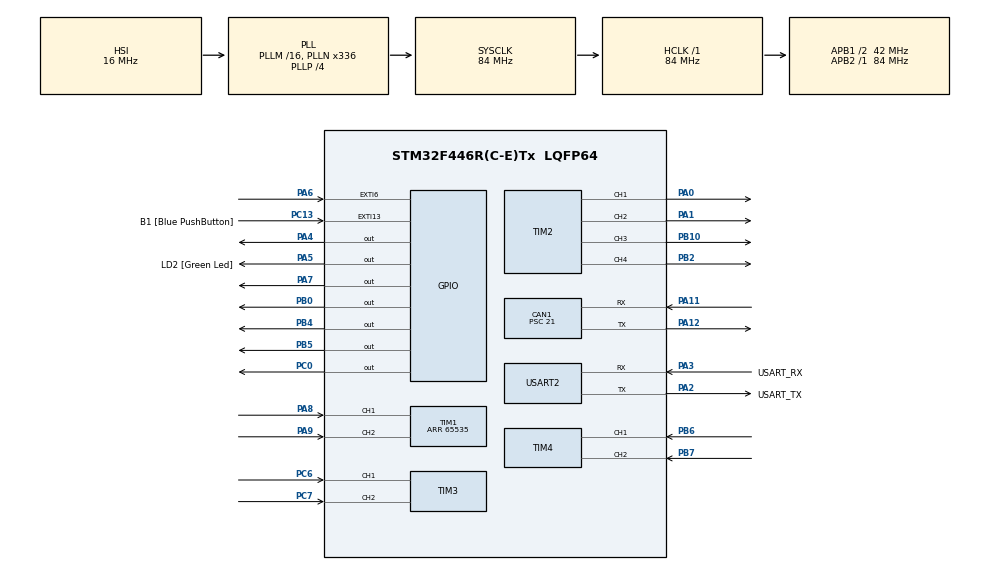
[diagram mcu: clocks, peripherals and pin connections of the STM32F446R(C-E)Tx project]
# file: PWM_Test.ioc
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CAN1.BS1=CAN_BS1_2TQ
CAN1.CalculateBaudRate=500000
CAN1.CalculateTimeBit=2000
CAN1.CalculateTimeQuantum=500.0
CAN1.Mode=CAN_MODE_NORMAL
CAN1.Prescaler=21
Mcu.Family=STM32F4
Mcu.Name=STM32F446R(C-E)Tx
Mcu.Package=LQFP64
NVIC.CAN1_RX0_IRQn=true\:0\:0\:false\:false\:true\:true\:true\:true
NVIC.CAN1_TX_IRQn=true\:0\:0\:false\:false\:true\:true\:true\:true
NVIC.PriorityGroup=NVIC_PRIORITYGROUP_0
PA0-WKUP.Signal=S_TIM2_CH1_ETR
PA1.Signal=S_TIM2_CH2
PA11.Mode=CAN_Activate
PA11.Signal=CAN1_RX
PA12.Mode=CAN_Activate
PA12.Signal=CAN1_TX
PA13.GPIO_Label=TMS
PA13.Mode=Serial_Wire
PA13.Signal=SYS_JTMS-SWDIO
PA14.GPIO_Label=TCK
PA14.Mode=Serial_Wire
PA14.Signal=SYS_JTCK-SWCLK
PA2.GPIO_Label=USART_TX
PA2.Mode=Asynchronous
PA2.Signal=USART2_TX
PA3.GPIO_Label=USART_RX
PA3.Mode=Asynchronous
PA3.Signal=USART2_RX
PA4.Signal=GPIO_Output
PA5.GPIO_Label=LD2 [Green Led]
PA5.Signal=GPIO_Output
PA6.Signal=GPXTI6
PA7.Signal=GPIO_Output
PA8.Signal=S_TIM1_CH1
PA9.Signal=S_TIM1_CH2
PB0.Signal=GPIO_Output
PB10.Signal=S_TIM2_CH3
PB2.Signal=S_TIM2_CH4
PB4.Signal=GPIO_Output
PB5.Signal=GPIO_Output
PB6.Signal=S_TIM4_CH1
PB7.Signal=S_TIM4_CH2
PC0.Signal=GPIO_Output
PC13.GPIO_Label=B1 [Blue PushButton]
PC13.GPIO_ModeDefaultEXTI=GPIO_MODE_IT_FALLING
PC13.Signal=GPXTI13
PC14-OSC32_IN.Mode=LSE-External-Oscillator
PC14-OSC32_IN.Signal=RCC_OSC32_IN
PC15-OSC32_OUT.Mode=LSE-External-Oscillator
PC15-OSC32_OUT.Signal=RCC_OSC32_OUT
PC6.Signal=S_TIM3_CH1
PC7.Signal=S_TIM3_CH2
PH0-OSC_IN.Mode=HSE-External-Oscillator
PH0-OSC_IN.Signal=RCC_OSC_IN
PH1-OSC_OUT.Mode=HSE-External-Oscillator
PH1-OSC_OUT.Signal=RCC_OSC_OUT
ProjectManager.HeapSize=0x200
ProjectManager.StackSize=0x400
ProjectManager.TargetToolchain=CMake
RCC.48MHZClocksFreq_Value=84000000
RCC.AHBFreq_Value=84000000
RCC.APB1CLKDivider=RCC_HCLK_DIV2
RCC.APB1Freq_Value=42000000
RCC.APB1TimFreq_Value=84000000
RCC.APB2Freq_Value=84000000
RCC.APB2TimFreq_Value=84000000
RCC.CortexFreq_Value=84000000
RCC.FLatency-AdvancedSettings=FLASH_LATENCY_2
RCC.HCLKFreq_Value=84000000
RCC.HSE_VALUE=8000000
RCC.HSI_VALUE=16000000
RCC.PLLN=336
RCC.PLLP=RCC_PLLP_DIV4
RCC.SYSCLKFreq_VALUE=84000000
RCC.SYSCLKSource=RCC_SYSCLKSOURCE_PLLCLK
RCC.USBFreq_Value=168000000
RCC.VCOOutputFreq_Value=336000000
SH.S_TIM1_CH1.0=TIM1_CH1,Encoder_Interface
SH.S_TIM1_CH2.0=TIM1_CH2,Encoder_Interface
SH.S_TIM2_CH1_ETR.0=TIM2_CH1,PWM Generation1 CH1
SH.S_TIM2_CH2.0=TIM2_CH2,PWM Generation2 CH2
SH.S_TIM2_CH3.0=TIM2_CH3,PWM Generation3 CH3
SH.S_TIM2_CH4.0=TIM2_CH4,PWM Generation4 CH4
SH.S_TIM3_CH1.0=TIM3_CH1,Encoder_Interface
SH.S_TIM3_CH2.0=TIM3_CH2,Encoder_Interface
SH.S_TIM4_CH1.0=TIM4_CH1,Encoder_Interface
SH.S_TIM4_CH2.0=TIM4_CH2,Encoder_Interface
TIM1.EncoderMode=TIM_ENCODERMODE_TI12
TIM1.IC1Filter=4
TIM1.IC2Filter=4
TIM1.Period=65535
TIM12.Prescaler=8399
TIM2.Channel-PWM\ Generation1\ CH1=TIM_CHANNEL_1
TIM2.Channel-PWM\ Generation2\ CH2=TIM_CHANNEL_2
TIM2.Channel-PWM\ Generation3\ CH3=TIM_CHANNEL_3
TIM2.Channel-PWM\ Generation4\ CH4=TIM_CHANNEL_4
TIM3.EncoderMode=TIM_ENCODERMODE_TI12
TIM3.IC1Filter=4
TIM3.IC2Filter=4
TIM4.EncoderMode=TIM_ENCODERMODE_TI12
TIM4.IC1Filter=4
TIM4.IC2Filter=4
USART2.VirtualMode=VM_ASYNC
VP_TIM12_VS_ClockSourceINT.Mode=Internal
VP_TIM2_VS_ClockSourceINT.Mode=Internal
board=NUCLEO-F446RE

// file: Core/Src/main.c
/* USER CODE BEGIN Header */
/**
  ******************************************************************************
  * @file           : main.c
  * @brief          : Main program body
  ******************************************************************************
  * @attention
  *
  * Copyright (c) 2025 STMicroelectronics.
  * All rights reserved.
  *
  * This software is licensed under terms that can be found in the LICENSE file
  * in the root directory of this software component.
  * If no LICENSE file comes with this software, it is provided AS-IS.
  *
  ******************************************************************************
  */
/* USER CODE END Header */
#include "main.h"

/* USER CODE BEGIN Includes */
#include <stdio.h>
#include <stdlib.h>
#include <stdbool.h>
#include <math.h>
#include "UMRT/CAN.h"
#include "UMRT/messages.h"
#include "UMRT/headlight_control.h"

#include "../../ECUAL/DC_MOTOR/DC_MOTOR.h"

#include "assert.h"
/* USER CODE END Includes */

/* USER CODE BEGIN PD */
#define DC_MOTOR1    0
#define DC_MOTOR2    1
#define DC_MOTOR3    2
#define DC_MOTOR4    3

#define PI_VALUE 3.14159265358979323846
#define MESSAGES_LEGACY_JETSON_MOTOR_CONTROL_STD_ID (0x110u)
#define MESSAGES_LEGACY_JETSON_MOTOR_CONTROL_EXT_ID (0xFF10u)
typedef struct {
	float motor1;
	float motor2;
	float motor3;
	float motor4;
} MotorMessage;

int16_t PWM_RES[] = {0, 0, 0, 0};
float motor_speed[] = {0, 0, 0, 0};

float MAX_RPM = 1.0f/155.0f;
float WHEEL_DIA = 1.0f/(PI_VALUE * 200.0f);
float SPEED_SCALE = 0.085f;

volatile float   rpm[4]        = {0.0f, 0.0f, 0.0f, 0.0f};
volatile int32_t prev_count[4] = {0, 0, 0, 0};
volatile float wheel_rpm[4] = {0.0f, 0.0f, 0.0f, 0.0f};  /* post-gear-ratio RPM, one per encoder_timers[] entry */
volatile int32_t last_delta[4] = {0, 0, 0, 0};  /* counts moved last sample    */

#define FEEDBACK_TX_PERIOD_MS 100u   /* 10 Hz — tune this alone, independent of RPM sampling */
static uint32_t last_feedback_tx_ms = 0;

void PID_UpdateTargetSpeed(MotorMessage targetSpeed) {
	motor_speed[0] = targetSpeed.motor1 * MAX_RPM * 4096.0f;
	motor_speed[1] = targetSpeed.motor2 * MAX_RPM * 4096.0f;
	motor_speed[2] = targetSpeed.motor3 * MAX_RPM * 4096.0f;
	motor_speed[3] = targetSpeed.motor4 * MAX_RPM * 4096.0f;

        for (int i = 0; i < 4; i++) {
            if (motor_speed[i] > 32767.0f) {
                motor_speed[i] = 32767.0f;
            } else if (motor_speed[i] < -32767.0f) {
                motor_speed[i] = -32767.0f;
            }

            PWM_RES[i] = (int16_t)motor_speed[i];
        }

        printf("MAX_RPM   = %.15f\r\n", MAX_RPM);
        printf("4096 term = %.15f\r\n", 4096.0f);
        printf("rpm       = %.15f\r\n", targetSpeed.motor1);

        printf("rpm*MAX   = %.15f\r\n",
               targetSpeed.motor1 * MAX_RPM);

        printf("rpm*MAX*4096 = %.15f\r\n",
               targetSpeed.motor1 * MAX_RPM * 4096.0f);
}

void CAN_MsgReceived(CAN_HandleTypeDef *hcan, CAN_RxHeaderTypeDef *rxheader, uint8_t *rxdata)
{
    uint32_t id = (rxheader->IDE == CAN_ID_STD) ? rxheader->StdId : rxheader->ExtId;
    switch (id)
    {
    case MESSAGES_LEGACY_JETSON_MOTOR_CONTROL_EXT_ID:
    case MESSAGES_LEGACY_JETSON_MOTOR_CONTROL_STD_ID:
        if (rxheader->DLC != 8) return;

        MotorMessage targetSpeed;
        const int16_t m1 = (int16_t)((uint16_t)rxdata[1] << 8 | rxdata[0]);
        const int16_t m2 = (int16_t)((uint16_t)rxdata[3] << 8 | rxdata[2]);
        const int16_t m3 = (int16_t)((uint16_t)rxdata[5] << 8 | rxdata[4]);
        const int16_t m4 = (int16_t)((uint16_t)rxdata[7] << 8 | rxdata[6]);

        if (
          (m1 > 0 && m3 < 0) ||
          (m1 < 0 && m3 > 0)
        ) {
            break;
        }

        if (
          (m2 > 0 && m4 < 0) ||
          (m2 < 0 && m4 > 0)
        ) {
              break;
        }

        targetSpeed.motor1 = (float)m1;
        targetSpeed.motor2 = (float)m2;
        targetSpeed.motor3 = (float)m3;
        targetSpeed.motor4 = (float)m4;

        PID_UpdateTargetSpeed(targetSpeed);
        break;

    case MESSAGES_ROVER_SPEED_CONTROL_FRAME_ID:
        {
            struct messages_rover_speed_control_t cmd;
            if (messages_rover_speed_control_unpack(&cmd, rxdata, rxheader->DLC) != 0) {
                printf("Rover_Speed_Control: unpack failed (DLC=%u)\r\n", rxheader->DLC);
                return;
            }

            float left_rpm  = messages_rover_speed_control_left_angular_velocity_decode(cmd.left_angular_velocity);
            float right_rpm = messages_rover_speed_control_right_angular_velocity_decode(cmd.right_angular_velocity);

            printf("left rpm: %.2f, right rpm: %.2f\r\n", left_rpm, right_rpm);

            MotorMessage targetSpeed;
            targetSpeed.motor1 = left_rpm;   // left, front
            targetSpeed.motor3 = left_rpm;   // left, rear
            targetSpeed.motor2 = right_rpm;  // right, front
            targetSpeed.motor4 = right_rpm;  // right, rear

            PID_UpdateTargetSpeed(targetSpeed);
            break;
        }

    //Headlights
    case MESSAGES_FRONT_HEADLIGHT_COMMAND_FRAME_ID:
    {
         printf("Headlight msg\r\n");
    	 Headlight_HandleCanFrame(rxheader, rxdata);

    	 break;
    }

    }
}
/* USER CODE END PD */

CAN_HandleTypeDef hcan1;

TIM_HandleTypeDef htim1;
TIM_HandleTypeDef htim2;
TIM_HandleTypeDef htim3;
TIM_HandleTypeDef htim4;
TIM_HandleTypeDef htim12;

UART_HandleTypeDef huart2;

void SystemClock_Config(void);
static void MX_GPIO_Init(void);
static void MX_USART2_UART_Init(void);
static void MX_TIM3_Init(void);
static void MX_CAN1_Init(void);
static void MX_TIM2_Init(void);
static void MX_TIM1_Init(void);
static void MX_TIM12_Init(void);
static void MX_TIM4_Init(void);
/* USER CODE BEGIN PFP */

uint8_t crc8_j1850(const uint8_t *data, size_t len);
static HAL_StatusTypeDef Send_Rover_Speed_Feedback(float rpm_front_left, float rpm_front_right,
                                                     float rpm_rear_left, float rpm_rear_right);
extern UART_HandleTypeDef huart2;

#ifdef RE_SIMULATION
  int _write(int file, char *ptr, int len)
  {
    HAL_UART_Transmit(&huart2, (uint8_t*)ptr, len, HAL_MAX_DELAY);
    return len;
  }
#endif

/* USER CODE END PFP */

/* USER CODE BEGIN 0 */
int __io_putchar(int ch) {
  HAL_StatusTypeDef result = HAL_UART_Transmit(&huart2, (uint8_t *)&ch, 1, 10);
  if (result != HAL_OK) {
	  // Backup to indicate printing isn't working.
	  HAL_GPIO_TogglePin(GPIOA, GPIO_PIN_5);
  }
  return ch;
}

static void Drive_Motor(uint8_t motor_id, int16_t pwm_value, bool left_motor) {
  if (left_motor) {
    DC_MOTOR_Set_Dir(motor_id, (pwm_value < 0) ? DIR_CCW: DIR_CW);
  } else {
    DC_MOTOR_Set_Dir(motor_id, (pwm_value < 0) ? DIR_CW: DIR_CCW);
  }
  const float absPWM = fabsf(pwm_value);
    if (absPWM < 0.05*4095) {
          DC_MOTOR_Stop(motor_id);
        }
        else{
          uint16_t speedVal =  (uint16_t)absPWM;
          if (speedVal > 32767) speedVal = 32767;
          DC_MOTOR_Set_Speed(motor_id, speedVal);
        }
}
/* USER CODE END 0 */

int main(void)
{

  /* MCU Configuration--------------------------------------------------------*/

  /* Reset of all peripherals, Initializes the Flash interface and the Systick. */
  HAL_Init();

  /* Configure the system clock */
  SystemClock_Config();

  /* Initialize all configured peripherals */
  MX_GPIO_Init();
  MX_USART2_UART_Init();
  MX_TIM3_Init();
  MX_CAN1_Init();
  MX_TIM2_Init();
  MX_TIM1_Init();
  MX_TIM12_Init();
  MX_TIM4_Init();
  /* USER CODE BEGIN 2 */
  CAN_Setup(&hcan1);
  Headlight_Init();

  printf("starting...");
  HAL_StatusTypeDef status = HAL_CAN_Start(&hcan1);
  if (status == HAL_OK) printf("success!\r\n");
  	  else
  	  {
  		  printf("failed! :( status == %u\r\n", status);
		  if (status == HAL_ERROR) HAL_CAN_ErrorCallback(&hcan1);
  	  }

  //HAL_ADCEx_Calibration_Start(&hadc1);
  DC_MOTOR_Init(DC_MOTOR1);
  DC_MOTOR_Init(DC_MOTOR2);
  DC_MOTOR_Init(DC_MOTOR3);
  DC_MOTOR_Init(DC_MOTOR4);
  DC_MOTOR_Start(DC_MOTOR1, DIR_CW, 0);
  DC_MOTOR_Start(DC_MOTOR2, DIR_CW, 0);
  DC_MOTOR_Start(DC_MOTOR3, DIR_CW, 0);
  DC_MOTOR_Start(DC_MOTOR4, DIR_CW, 0);

  HAL_TIM_Encoder_Start(&htim1, TIM_CHANNEL_ALL);
  HAL_TIM_Encoder_Start(&htim3, TIM_CHANNEL_ALL);
  HAL_TIM_Encoder_Start(&htim4, TIM_CHANNEL_ALL);
  //HAL_TIM_Encoder_Start(&htim5, TIM_CHANNEL_ALL);

  HAL_TIM_Base_Start(&htim12);
  printf("System Ready\r\n");

  /* USER CODE END 2 */

  /* Infinite loop */
  while (1)
  {

    /* USER CODE BEGIN 3 */
  Drive_Motor(DC_MOTOR1, PWM_RES[0], true); //left front
  Drive_Motor(DC_MOTOR2, PWM_RES[1], false); //right front
  Drive_Motor(DC_MOTOR3, PWM_RES[2], true);  //left rear
  Drive_Motor(DC_MOTOR4, PWM_RES[3], false); //right rear
  }
  /* USER CODE END 3 */
}

void SystemClock_Config(void)
{
  RCC_OscInitTypeDef RCC_OscInitStruct = {0};
  RCC_ClkInitTypeDef RCC_ClkInitStruct = {0};

  /** Configure the main internal regulator output voltage
  */
  __HAL_RCC_PWR_CLK_ENABLE();
  __HAL_PWR_VOLTAGESCALING_CONFIG(PWR_REGULATOR_VOLTAGE_SCALE3);

  /** Initializes the RCC Oscillators according to the specified parameters
  * in the RCC_OscInitTypeDef structure.
  */
  RCC_OscInitStruct.OscillatorType = RCC_OSCILLATORTYPE_HSI;
  RCC_OscInitStruct.HSIState = RCC_HSI_ON;
  RCC_OscInitStruct.HSICalibrationValue = RCC_HSICALIBRATION_DEFAULT;
  RCC_OscInitStruct.PLL.PLLState = RCC_PLL_ON;
  RCC_OscInitStruct.PLL.PLLSource = RCC_PLLSOURCE_HSI;
  RCC_OscInitStruct.PLL.PLLM = 16;
  RCC_OscInitStruct.PLL.PLLN = 336;
  RCC_OscInitStruct.PLL.PLLP = RCC_PLLP_DIV4;
  RCC_OscInitStruct.PLL.PLLQ = 2;
  RCC_OscInitStruct.PLL.PLLR = 2;
  if (HAL_RCC_OscConfig(&RCC_OscInitStruct) != HAL_OK)
  {
    Error_Handler();
  }

  /** Initializes the CPU, AHB and APB buses clocks**/
  RCC_ClkInitStruct.ClockType = RCC_CLOCKTYPE_HCLK|RCC_CLOCKTYPE_SYSCLK
                              |RCC_CLOCKTYPE_PCLK1|RCC_CLOCKTYPE_PCLK2;
  RCC_ClkInitStruct.SYSCLKSource = RCC_SYSCLKSOURCE_PLLCLK;
  RCC_ClkInitStruct.AHBCLKDivider = RCC_SYSCLK_DIV1;
  RCC_ClkInitStruct.APB1CLKDivider = RCC_HCLK_DIV2;
  RCC_ClkInitStruct.APB2CLKDivider = RCC_HCLK_DIV1;

  if (HAL_RCC_ClockConfig(&RCC_ClkInitStruct, FLASH_LATENCY_2) != HAL_OK)
  {
    Error_Handler();
  }
}

static void MX_CAN1_Init(void)
{

  hcan1.Instance = CAN1;
  hcan1.Init.Prescaler = 21;
  hcan1.Init.Mode = CAN_MODE_NORMAL;
  hcan1.Init.SyncJumpWidth = CAN_SJW_1TQ;
  hcan1.Init.TimeSeg1 = CAN_BS1_2TQ;
  hcan1.Init.TimeSeg2 = CAN_BS2_1TQ;
  hcan1.Init.TimeTriggeredMode = DISABLE;
  hcan1.Init.AutoBusOff = DISABLE;
  hcan1.Init.AutoWakeUp = DISABLE;
  hcan1.Init.AutoRetransmission = DISABLE;
  hcan1.Init.ReceiveFifoLocked = DISABLE;
  hcan1.Init.TransmitFifoPriority = DISABLE;
  if (HAL_CAN_Init(&hcan1) != HAL_OK)
  {
    Error_Handler();
  }

}

static void MX_TIM1_Init(void)
{

  TIM_Encoder_InitTypeDef sConfig = {0};
  TIM_MasterConfigTypeDef sMasterConfig = {0};

  htim1.Instance = TIM1;
  htim1.Init.Prescaler = 0;
  htim1.Init.CounterMode = TIM_COUNTERMODE_UP;
  htim1.Init.Period = 65535;
  htim1.Init.ClockDivision = TIM_CLOCKDIVISION_DIV1;
  htim1.Init.RepetitionCounter = 0;
  htim1.Init.AutoReloadPreload = TIM_AUTORELOAD_PRELOAD_DISABLE;
  sConfig.EncoderMode = TIM_ENCODERMODE_TI12;
  sConfig.IC1Polarity = TIM_ICPOLARITY_RISING;
  sConfig.IC1Selection = TIM_ICSELECTION_DIRECTTI;
  sConfig.IC1Prescaler = TIM_ICPSC_DIV1;
  sConfig.IC1Filter = 4;
  sConfig.IC2Polarity = TIM_ICPOLARITY_RISING;
  sConfig.IC2Selection = TIM_ICSELECTION_DIRECTTI;
  sConfig.IC2Prescaler = TIM_ICPSC_DIV1;
  sConfig.IC2Filter = 4;
  if (HAL_TIM_Encoder_Init(&htim1, &sConfig) != HAL_OK)
  {
    Error_Handler();
  }
  sMasterConfig.MasterOutputTrigger = TIM_TRGO_RESET;
  sMasterConfig.MasterSlaveMode = TIM_MASTERSLAVEMODE_DISABLE;
  if (HAL_TIMEx_MasterConfigSynchronization(&htim1, &sMasterConfig) != HAL_OK)
  {
    Error_Handler();
  }

}

static void MX_TIM2_Init(void)
{

  TIM_ClockConfigTypeDef sClockSourceConfig = {0};
  TIM_MasterConfigTypeDef sMasterConfig = {0};
  TIM_OC_InitTypeDef sConfigOC = {0};

  htim2.Instance = TIM2;
  htim2.Init.Prescaler = 0;
  htim2.Init.CounterMode = TIM_COUNTERMODE_UP;
  htim2.Init.Period = 4294967295;
  htim2.Init.ClockDivision = TIM_CLOCKDIVISION_DIV1;
  htim2.Init.AutoReloadPreload = TIM_AUTORELOAD_PRELOAD_DISABLE;
  if (HAL_TIM_Base_Init(&htim2) != HAL_OK)
  {
    Error_Handler();
  }
  sClockSourceConfig.ClockSource = TIM_CLOCKSOURCE_INTERNAL;
  if (HAL_TIM_ConfigClockSource(&htim2, &sClockSourceConfig) != HAL_OK)
  {
    Error_Handler();
  }
  if (HAL_TIM_PWM_Init(&htim2) != HAL_OK)
  {
    Error_Handler();
  }
  sMasterConfig.MasterOutputTrigger = TIM_TRGO_RESET;
  sMasterConfig.MasterSlaveMode = TIM_MASTERSLAVEMODE_DISABLE;
  if (HAL_TIMEx_MasterConfigSynchronization(&htim2, &sMasterConfig) != HAL_OK)
  {
    Error_Handler();
  }
  sConfigOC.OCMode = TIM_OCMODE_PWM1;
  sConfigOC.Pulse = 0;
  sConfigOC.OCPolarity = TIM_OCPOLARITY_HIGH;
  sConfigOC.OCFastMode = TIM_OCFAST_DISABLE;
  if (HAL_TIM_PWM_ConfigChannel(&htim2, &sConfigOC, TIM_CHANNEL_1) != HAL_OK)
  {
    Error_Handler();
  }
  if (HAL_TIM_PWM_ConfigChannel(&htim2, &sConfigOC, TIM_CHANNEL_2) != HAL_OK)
  {
    Error_Handler();
  }
  if (HAL_TIM_PWM_ConfigChannel(&htim2, &sConfigOC, TIM_CHANNEL_3) != HAL_OK)
  {
    Error_Handler();
  }
  if (HAL_TIM_PWM_ConfigChannel(&htim2, &sConfigOC, TIM_CHANNEL_4) != HAL_OK)
  {
    Error_Handler();
  }
  HAL_TIM_MspPostInit(&htim2);

}

static void MX_TIM3_Init(void)
{

  TIM_Encoder_InitTypeDef sConfig = {0};
  TIM_MasterConfigTypeDef sMasterConfig = {0};

  htim3.Instance = TIM3;
  htim3.Init.Prescaler = 0;
  htim3.Init.CounterMode = TIM_COUNTERMODE_UP;
  htim3.Init.Period = 65535;
  htim3.Init.ClockDivision = TIM_CLOCKDIVISION_DIV1;
  htim3.Init.AutoReloadPreload = TIM_AUTORELOAD_PRELOAD_DISABLE;
  sConfig.EncoderMode = TIM_ENCODERMODE_TI12;
  sConfig.IC1Polarity = TIM_ICPOLARITY_RISING;
  sConfig.IC1Selection = TIM_ICSELECTION_DIRECTTI;
  sConfig.IC1Prescaler = TIM_ICPSC_DIV1;
  sConfig.IC1Filter = 4;
  sConfig.IC2Polarity = TIM_ICPOLARITY_RISING;
  sConfig.IC2Selection = TIM_ICSELECTION_DIRECTTI;
  sConfig.IC2Prescaler = TIM_ICPSC_DIV1;
  sConfig.IC2Filter = 4;
  if (HAL_TIM_Encoder_Init(&htim3, &sConfig) != HAL_OK)
  {
    Error_Handler();
  }
  sMasterConfig.MasterOutputTrigger = TIM_TRGO_RESET;
  sMasterConfig.MasterSlaveMode = TIM_MASTERSLAVEMODE_DISABLE;
  if (HAL_TIMEx_MasterConfigSynchronization(&htim3, &sMasterConfig) != HAL_OK)
  {
    Error_Handler();
  }

}

static void MX_TIM4_Init(void)
{

  TIM_Encoder_InitTypeDef sConfig = {0};
  TIM_MasterConfigTypeDef sMasterConfig = {0};

  htim4.Instance = TIM4;
  htim4.Init.Prescaler = 0;
  htim4.Init.CounterMode = TIM_COUNTERMODE_UP;
  htim4.Init.Period = 65535;
  htim4.Init.ClockDivision = TIM_CLOCKDIVISION_DIV1;
  htim4.Init.AutoReloadPreload = TIM_AUTORELOAD_PRELOAD_DISABLE;
  sConfig.EncoderMode = TIM_ENCODERMODE_TI12;
  sConfig.IC1Polarity = TIM_ICPOLARITY_RISING;
  sConfig.IC1Selection = TIM_ICSELECTION_DIRECTTI;
  sConfig.IC1Prescaler = TIM_ICPSC_DIV1;
  sConfig.IC1Filter = 4;
  sConfig.IC2Polarity = TIM_ICPOLARITY_RISING;
  sConfig.IC2Selection = TIM_ICSELECTION_DIRECTTI;
  sConfig.IC2Prescaler = TIM_ICPSC_DIV1;
  sConfig.IC2Filter = 4;
  if (HAL_TIM_Encoder_Init(&htim4, &sConfig) != HAL_OK)
  {
    Error_Handler();
  }
  sMasterConfig.MasterOutputTrigger = TIM_TRGO_RESET;
  sMasterConfig.MasterSlaveMode = TIM_MASTERSLAVEMODE_DISABLE;
  if (HAL_TIMEx_MasterConfigSynchronization(&htim4, &sMasterConfig) != HAL_OK)
  {
    Error_Handler();
  }

}

static void MX_TIM12_Init(void)
{

  TIM_ClockConfigTypeDef sClockSourceConfig = {0};

  htim12.Instance = TIM12;
  htim12.Init.Prescaler = 8399;
  htim12.Init.CounterMode = TIM_COUNTERMODE_UP;
  htim12.Init.Period = 65535;
  htim12.Init.ClockDivision = TIM_CLOCKDIVISION_DIV1;
  htim12.Init.AutoReloadPreload = TIM_AUTORELOAD_PRELOAD_DISABLE;
  if (HAL_TIM_Base_Init(&htim12) != HAL_OK)
  {
    Error_Handler();
  }
  sClockSourceConfig.ClockSource = TIM_CLOCKSOURCE_INTERNAL;
  if (HAL_TIM_ConfigClockSource(&htim12, &sClockSourceConfig) != HAL_OK)
  {
    Error_Handler();
  }

}

static void MX_USART2_UART_Init(void)
{

  huart2.Instance = USART2;
  huart2.Init.BaudRate = 115200;
  huart2.Init.WordLength = UART_WORDLENGTH_8B;
  huart2.Init.StopBits = UART_STOPBITS_1;
  huart2.Init.Parity = UART_PARITY_NONE;
  huart2.Init.Mode = UART_MODE_TX_RX;
  huart2.Init.HwFlowCtl = UART_HWCONTROL_NONE;
  huart2.Init.OverSampling = UART_OVERSAMPLING_16;
  if (HAL_UART_Init(&huart2) != HAL_OK)
  {
    Error_Handler();
  }

}

static void MX_GPIO_Init(void)
{
  GPIO_InitTypeDef GPIO_InitStruct = {0};

  /* GPIO Ports Clock Enable */
  __HAL_RCC_GPIOC_CLK_ENABLE();
  __HAL_RCC_GPIOH_CLK_ENABLE();
  __HAL_RCC_GPIOA_CLK_ENABLE();
  __HAL_RCC_GPIOB_CLK_ENABLE();

  /*Configure GPIO pin Output Level */
  HAL_GPIO_WritePin(GPIOC, GPIO_PIN_0, GPIO_PIN_RESET);

  /*Configure GPIO pin Output Level */
  HAL_GPIO_WritePin(GPIOA, GPIO_PIN_4|LD2_Pin|GPIO_PIN_7, GPIO_PIN_RESET);

  /*Configure GPIO pin Output Level */
  HAL_GPIO_WritePin(GPIOB, GPIO_PIN_0|GPIO_PIN_4|GPIO_PIN_5, GPIO_PIN_RESET);

  /*Configure GPIO pin : B1_Pin */
  GPIO_InitStruct.Pin = B1_Pin;
  GPIO_InitStruct.Mode = GPIO_MODE_IT_FALLING;
  GPIO_InitStruct.Pull = GPIO_NOPULL;
  HAL_GPIO_Init(B1_GPIO_Port, &GPIO_InitStruct);

  /*Configure GPIO pin : PC0 */
  GPIO_InitStruct.Pin = GPIO_PIN_0;
  GPIO_InitStruct.Mode = GPIO_MODE_OUTPUT_PP;
  GPIO_InitStruct.Pull = GPIO_NOPULL;
  GPIO_InitStruct.Speed = GPIO_SPEED_FREQ_LOW;
  HAL_GPIO_Init(GPIOC, &GPIO_InitStruct);

  /*Configure GPIO pins : PA4 LD2_Pin PA7 */
  GPIO_InitStruct.Pin = GPIO_PIN_4|LD2_Pin|GPIO_PIN_7;
  GPIO_InitStruct.Mode = GPIO_MODE_OUTPUT_PP;
  GPIO_InitStruct.Pull = GPIO_NOPULL;
  GPIO_InitStruct.Speed = GPIO_SPEED_FREQ_LOW;
  HAL_GPIO_Init(GPIOA, &GPIO_InitStruct);

  /*Configure GPIO pin : PA6 */
  GPIO_InitStruct.Pin = GPIO_PIN_6;
  GPIO_InitStruct.Mode = GPIO_MODE_IT_RISING;
  GPIO_InitStruct.Pull = GPIO_NOPULL;
  HAL_GPIO_Init(GPIOA, &GPIO_InitStruct);

  /*Configure GPIO pins : PB0 PB4 PB5 */
  GPIO_InitStruct.Pin = GPIO_PIN_0|GPIO_PIN_4|GPIO_PIN_5;
  GPIO_InitStruct.Mode = GPIO_MODE_OUTPUT_PP;
  GPIO_InitStruct.Pull = GPIO_NOPULL;
  GPIO_InitStruct.Speed = GPIO_SPEED_FREQ_LOW;
  HAL_GPIO_Init(GPIOB, &GPIO_InitStruct);

}

/* USER CODE BEGIN 4 */

uint8_t crc8_j1850(const uint8_t *data, size_t len)
{
    uint8_t crc = 0xFF;
    for (size_t i = 0; i < len; i++) {
        crc ^= data[i];
        for (int bit = 0; bit < 8; bit++) {
            crc = (crc & 0x80) ? (uint8_t)((crc << 1) ^ 0x1D)
                                : (uint8_t)(crc << 1);
        }
    }
    return crc ^ 0xFF;
}

static uint8_t feedback_msg_counter = 0;

static HAL_StatusTypeDef Send_Rover_Speed_Feedback(float rpm_front_left, float rpm_front_right,
                                                     float rpm_rear_left, float rpm_rear_right)
{
    CAN_TxHeaderTypeDef txHeader = {0};
    uint8_t  txData[8];
    uint32_t txMailbox;
    struct messages_rover_speed_feedback_t fb = {0};

    /* Clamp to the encodable physical range before handing off to the generated
       encoders - the encode functions do the scale/offset math, not the clamping. */
    float vel_fl = rpm_front_left  < 0.0f ? 0.0f : (rpm_front_left  > 4015.875f ? 4015.875f : rpm_front_left);
    float vel_fr = rpm_front_right < 0.0f ? 0.0f : (rpm_front_right > 4015.875f ? 4015.875f : rpm_front_right);
    float dis_l  = fabsf(rpm_front_left  - rpm_rear_left);
    float dis_r  = fabsf(rpm_front_right - rpm_rear_right);
    if (dis_l > 31.25f) dis_l = 31.25f;
    if (dis_r > 31.25f) dis_r = 31.25f;

    fb.left_angular_velocity  = messages_rover_speed_feedback_left_angular_velocity_encode(vel_fl);
    fb.right_angular_velocity = messages_rover_speed_feedback_right_angular_velocity_encode(vel_fr);
    fb.left_disagreement      = messages_rover_speed_feedback_left_disagreement_encode(dis_l);
    fb.right_disagreement     = messages_rover_speed_feedback_right_disagreement_encode(dis_r);

    feedback_msg_counter = (feedback_msg_counter + 1) % 251;  /* Message_Counter: /max:250 */
    fb.message_counter = feedback_msg_counter;                /* factor 1 / offset 0 - no encode needed */
    fb.crc = 0;                                                /* placeholder; real CRC written below */

    if (messages_rover_speed_feedback_pack(txData, &fb, sizeof(txData)) < 0) {
        return HAL_ERROR;   /* buffer too small - shouldn't happen with a fixed 8-byte array */
    }

    txData[7] = crc8_j1850(txData, 7);   /* <-- your existing CRC function, overwrites the placeholder */

    txHeader.ExtId = MESSAGES_ROVER_SPEED_FEEDBACK_FRAME_ID;
    txHeader.IDE   = CAN_ID_EXT;
    txHeader.RTR   = CAN_RTR_DATA;
    txHeader.DLC   = 8;
    txHeader.TransmitGlobalTime = DISABLE;

    return HAL_CAN_AddTxMessage(&hcan1, &txHeader, txData, &txMailbox);
}

/* USER CODE END 4 */

void Error_Handler(void)
{
  __disable_irq();
  while (1)
  {
  }
}
